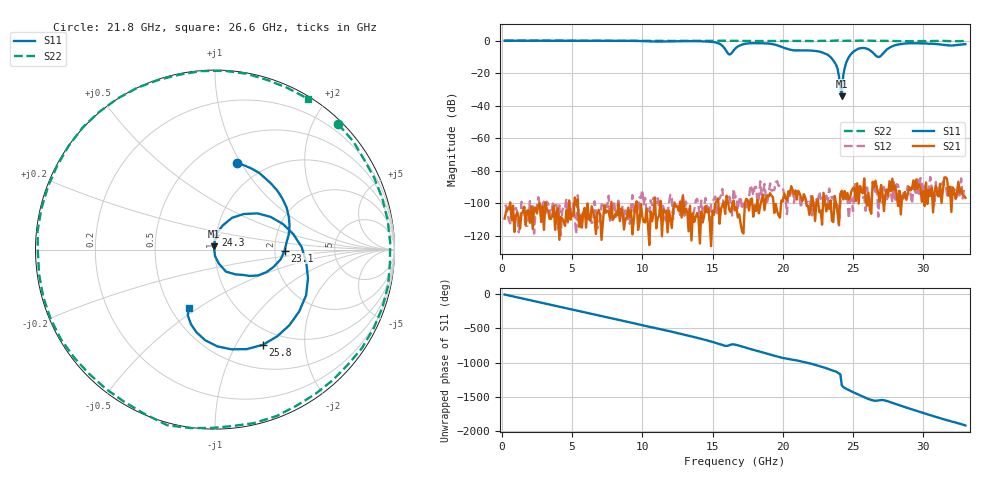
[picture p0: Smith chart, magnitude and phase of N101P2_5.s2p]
# GHZ S RI R 50
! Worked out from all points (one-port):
!   329 points, 200 MHz to 33 GHz, reference 50 ohm
!   lowest |S11| = -34.1 dB at 24.2 GHz (marker M1), VSWR 1.04, Z = 49.3 + j1.85 ohm
!   |S11| at or under -10 dB: 23.39 GHz to 24.71 GHz (1.321 GHz wide, 5.49 % of centre); 26.79248 GHz to 26.81557 GHz (23.08 MHz wide, 0.0861 % of centre)
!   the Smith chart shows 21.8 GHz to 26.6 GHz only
!   S11 on the Smith chart (normalised r, x): 21.8 GHz: 0.74, +0.96; 23.1 GHz: 2.27, -0.03; 24.3 GHz: 0.99, +0.16; 25.8 GHz: 0.79, -1.30; 26.6 GHz: 0.62, -0.46
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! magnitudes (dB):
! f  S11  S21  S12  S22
! 200 MHz  0.0  -109.3  -101.8  0.0
! 5.7 GHz  0.0  -114.9  -104.7  0.0
! 11.2 GHz  -0.6  -107.9  -103.6  -0.1
! 15.1 GHz  -0.9  -106.9  -97.4  0.0
! 15.7 GHz  -3.1  -101.0  -91.1  0.0
! 16.2 GHz  -8.5  -104.1  -95.8  -0.1
! 16.6 GHz  -5.0  -104.3  -96.4  -0.1
! 18.4 GHz  -1.5  -101.2  -86.4  -0.2
! 21.8 GHz  -6.0  -101.5  -99.0  -0.2
! 22.1 GHz  -6.1  -95.6  -107.4  -0.2
! 23.1 GHz  -8.2  -104.9  -95.2  -0.2
! 23.9 GHz  -17.2  -105.8  -99.2  0.1
! 24.2 GHz  -34.1  -92.2  -98.0  -0.1
! 24.3 GHz  -21.7  -97.5  -98.7  -0.1
! 24.5 GHz  -13.9  -97.2  -95.0  -0.1
! 24.8 GHz  -8.9  -95.8  -98.8  -0.1
! 25.8 GHz  -4.5  -84.7  -96.0  0.0
! 26.6 GHz  -9.0  -86.0  -93.1  -0.1
! 26.9 GHz  -9.9  -98.9  -91.8  -0.2
! 27.6 GHz  -4.3  -86.3  -93.9  -0.2
! 29 GHz  -1.6  -90.0  -91.6  -0.3
! 33 GHz  -2.1  -96.5  -91.4  -0.2
